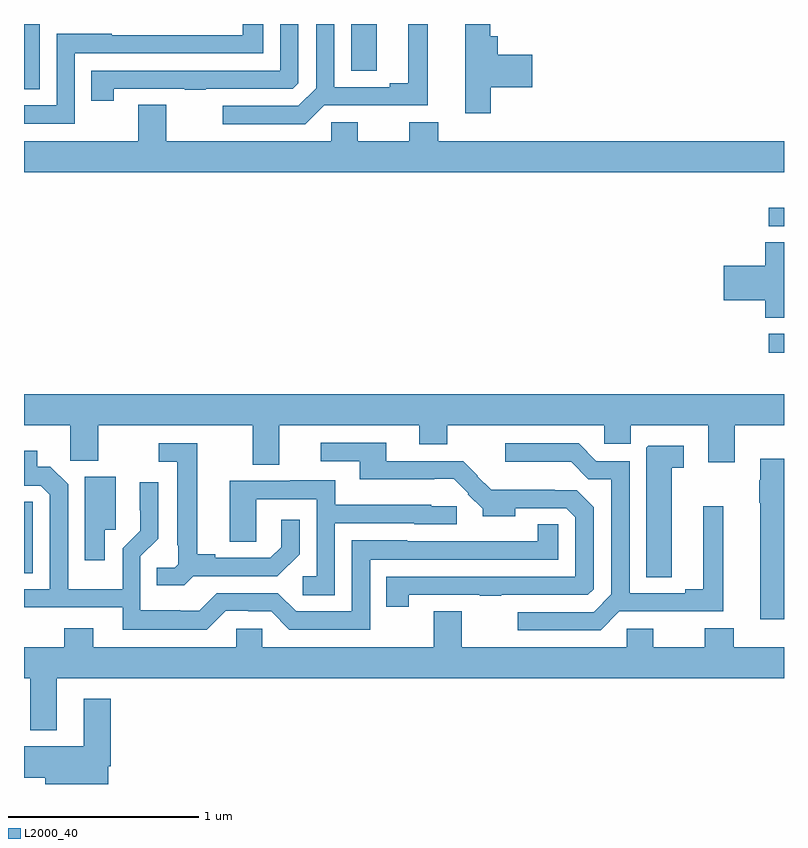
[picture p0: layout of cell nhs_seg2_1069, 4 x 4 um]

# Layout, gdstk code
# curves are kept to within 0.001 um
import gdstk
lib = gdstk.Library(unit=1e-6, precision=1e-09)
def R(c, l, rs):  # rectangles x0, y0, x1, y1
    for r in rs: c.add(gdstk.rectangle(r[:2], r[2:], *l))
def P(c, l, *ps):  # polygons
    for p in ps: c.add(gdstk.Polygon(p, *l))
L2000_40 = (2000, 40)

nhs_seg2_1069 = lib.new_cell('nhs_seg2_1069')
R(nhs_seg2_1069, L2000_40, [(170.919,596.071,171,596.169), (170.919,596.736,171,596.832), (167,597.457,167.082,597.8), (168.722,597.553,168.856,597.8)])
P(nhs_seg2_1069, L2000_40, [(169.457,597.467),(169.675,597.467),(169.675,597.638),(169.493,597.638),(169.493,597.736),(169.454,597.736),(169.454,597.8),(169.322,597.8),(169.322,597.33),(169.457,597.33)],
  [(167.268,597.645),(168.258,597.645),(168.258,597.8),(168.15,597.8),(168.15,597.742),(167.895,597.742),(167.895,597.741),(167.463,597.741),(167.463,597.748),(167.172,597.748),(167.172,597.372),(167,597.372),(167,597.276),(167.268,597.276)],
  [(168.58,597.372),(169.126,597.372),(169.126,597.8),(169.022,597.8),(169.022,597.488),(168.926,597.488),(168.926,597.468),(168.633,597.468),(168.633,597.8),(168.537,597.8),(168.537,597.462),(168.444,597.369),(168.045,597.369),(168.045,597.273),(168.481,597.273)],
  [(167.472,597.459),(167.845,597.459),(167.845,597.454),(167.957,597.454),(167.957,597.459),(168.414,597.459),(168.444,597.489),(168.444,597.8),(168.348,597.8),(168.348,597.555),(167.353,597.555),(167.353,597.396),(167.472,597.396)],
  [(171,597.184),(169.181,597.184),(169.181,597.283),(169.028,597.283),(169.028,597.184),(168.757,597.184),(168.757,597.282),(168.618,597.282),(168.618,597.184),(167.749,597.184),(167.749,597.374),(167.602,597.374),(167.602,597.184),(167,597.184),(167,597.02),(171,597.02)],
  [(171,596.651),(170.9,596.651),(170.9,596.528),(170.682,596.528),(170.682,596.345),(170.9,596.345),(170.9,596.254),(171,596.254)],
  [(168.343,595.688),(169.079,595.688),(169.079,595.589),(169.227,595.589),(169.227,595.688),(170.055,595.688),(170.055,595.59),(170.194,595.59),(170.194,595.688),(170.6,595.688),(170.6,595.494),(170.74,595.494),(170.74,595.688),(171,595.688),(171,595.852),(167,595.852),(167,595.688),(167.244,595.688),(167.244,595.501),(167.391,595.501),(167.391,595.688),(168.203,595.688),(168.203,595.48),(168.343,595.48)],
  [(169.026,594.795),(169.399,594.795),(169.399,594.79),(169.511,594.79),(169.511,594.795),(169.968,594.795),(169.998,594.825),(169.998,595.257),(169.909,595.346),(169.793,595.346),(169.793,595.348),(169.459,595.348),(169.385,595.421),(169.387,595.423),(169.311,595.5),(168.907,595.5),(168.907,595.596),(168.561,595.596),(168.561,595.5),(168.767,595.5),(168.767,595.403),(169.16,595.403),(169.16,595.406),(169.262,595.406),(169.338,595.329),(169.335,595.326),(169.414,595.248),(169.414,595.208),(169.585,595.208),(169.585,595.251),(169.854,595.251),(169.902,595.203),(169.902,594.891),(168.907,594.891),(168.907,594.732),(169.026,594.732)],
  [(167.892,594.894),(168.334,594.894),(168.45,595.01),(168.45,595.192),(168.353,595.192),(168.353,595.047),(168.296,594.99),(168.007,594.99),(168.007,595.01),(167.911,595.01),(167.911,595.593),(167.709,595.593),(167.709,595.497),(167.807,595.497),(167.807,595.057),(167.811,595.057),(167.811,594.957),(167.793,594.939),(167.698,594.939),(167.698,594.847),(167.844,594.847)],
  [(170.134,594.708),(170.68,594.708),(170.68,595.261),(170.576,595.261),(170.576,594.824),(170.48,594.824),(170.48,594.804),(170.187,594.804),(170.187,595.5),(170.013,595.5),(169.92,595.593),(169.533,595.593),(169.533,595.496),(169.879,595.496),(169.97,595.405),(170.091,595.405),(170.091,594.798),(169.998,594.705),(169.599,594.705),(169.599,594.609),(170.035,594.609)],
  [(170.41,595.465),(170.473,595.465),(170.473,595.581),(170.286,595.581),(170.276,595.571),(170.276,594.889),(170.41,594.889)],
  [(168.063,594.711),(168.18,594.711),(168.18,594.708),(168.3,594.708),(168.396,594.612),(168.822,594.612),(168.822,594.981),(169.812,594.981),(169.812,595.166),(169.704,595.166),(169.704,595.078),(169.017,595.077),(169.017,595.084),(168.726,595.084),(168.726,594.708),(168.432,594.708),(168.336,594.804),(168.015,594.804),(167.922,594.711),(167.822,594.711),(167.822,594.715),(167.613,594.715),(167.613,594.999),(167.706,595.092),(167.706,595.387),(167.61,595.387),(167.61,595.24),(167.612,595.24),(167.612,595.134),(167.52,595.042),(167.52,594.826),(167.232,594.826),(167.232,595.377),(167.139,595.47),(167.071,595.47),(167.071,595.555),(167,595.555),(167,595.371),(167.088,595.371),(167.136,595.323),(167.136,594.825),(167,594.825),(167,594.729),(167.519,594.729),(167.519,594.611),(167.963,594.611)],
  [(171,595.513),(170.876,595.513),(170.876,595.4),(170.869,595.4),(170.869,595.281),(170.876,595.281),(170.876,594.666),(171,594.666)],
  [(167.425,595.137),(167.482,595.137),(167.482,595.416),(167.321,595.416),(167.321,594.978),(167.425,594.978)],
  [(168.636,595.173),(169.053,595.173),(169.053,595.167),(169.278,595.167),(169.278,595.263),(169.143,595.263),(169.143,595.27),(168.637,595.27),(168.637,595.399),(168.401,595.399),(168.401,595.395),(168.083,595.395),(168.083,595.075),(168.222,595.075),(168.222,595.299),(168.54,595.299),(168.54,594.894),(168.468,594.894),(168.468,594.793),(168.636,594.793)],
  [(167.047,595.178),(167.046,595.178),(167.046,595.286),(167,595.286),(167,594.91),(167.047,594.91)],
  [(167.173,594.356),(171,594.356),(171,594.52),(170.735,594.52),(170.735,594.619),(170.582,594.619),(170.582,594.52),(170.311,594.52),(170.311,594.618),(170.172,594.618),(170.172,594.52),(169.303,594.52),(169.303,594.71),(169.156,594.71),(169.156,594.52),(168.255,594.52),(168.255,594.618),(168.117,594.618),(168.117,594.52),(167.365,594.52),(167.365,594.619),(167.213,594.619),(167.213,594.52),(167,594.52),(167,594.356),(167.033,594.356),(167.033,594.083),(167.173,594.083)],
  [(167.443,593.894),(167.456,593.894),(167.456,594.25),(167.315,594.25),(167.315,593.998),(167,593.998),(167,593.834),(167.111,593.834),(167.111,593.8),(167.443,593.8)])

lib.write_gds('nhs_seg2_1069.gds')
